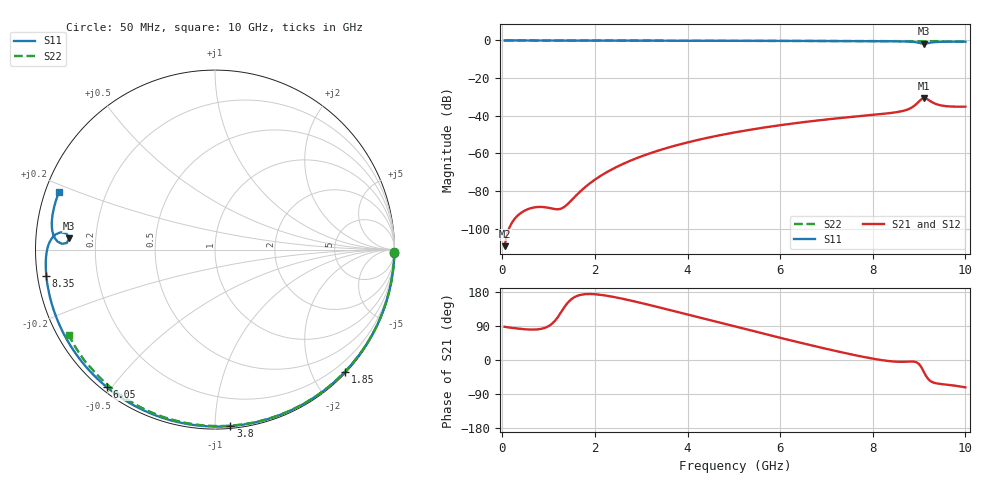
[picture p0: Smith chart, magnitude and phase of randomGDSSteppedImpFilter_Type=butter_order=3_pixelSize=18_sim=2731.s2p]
! freq	dB(S11)	phase(S11)	dB(S12)	phase(S12)
!  dB(S21)	phase(S21)	dB(S22)	phase(S22)
!S-par simulation data
#  GHz  S  DB  R 50
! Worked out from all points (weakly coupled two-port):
!   200 points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, 50 MHz to 10 GHz, reference 50 ohm
!   highest |S21| = -30.63 dB at 9.1 GHz (marker M1); lowest = -109.2 dB at 50 MHz (marker M2)
!   lowest |S11| = -1.8 dB at 9.1 GHz (marker M3), VSWR 9.78, Z = 5.12 + j1.89 ohm
!   |S11| at or under -10 dB: nowhere
!   |S22| runs from -0.5 to 0.0 dB; largest |S21 - S12| = 0
!   S11 on the Smith chart (normalised r, x): 50 MHz: 1, -99; 1.85 GHz: 0.02, -2.53; 3.8 GHz: 0.01, -1.09; 6.05 GHz: 0.02, -0.48; 8.35 GHz: 0.03, -0.08; 10 GHz: 0.04, +0.18
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0.05  -0.00 -1.2  -109.21 87.7  -109.21 87.7  -0.00 -0.8
0.8  -0.02 -19.0  -88.38 81.4  -88.38 81.4  -0.02 -13.8
1.65  -0.05 -38.7  -80.95 170.5  -80.95 170.5  -0.04 -28.2
1.7  -0.05 -39.8  -79.80 172.1  -79.80 172.1  -0.04 -29.1
1.75  -0.05 -40.9  -78.69 173.1  -78.69 173.1  -0.04 -29.9
1.85  -0.05 -43.2  -76.64 174.1  -76.64 174.1  -0.04 -31.6
2.15  -0.06 -49.9  -71.48 171.5  -71.48 171.5  -0.05 -36.6
2.5  -0.07 -57.6  -66.78 164.1  -66.78 164.1  -0.05 -42.3
2.9  -0.09 -66.3  -62.50 153.3  -62.50 153.3  -0.06 -48.8
3.4  -0.10 -76.8  -58.23 138.5  -58.23 138.5  -0.08 -56.8
3.8  -0.11 -85.0  -55.39 126.3  -55.39 126.3  -0.09 -63.1
5.05  -0.17 -109.6  -48.68 87.5  -48.68 87.5  -0.13 -81.9
6.05  -0.22 -128.3  -44.82 57.1  -44.82 57.1  -0.17 -96.3
6.7  -0.27 -140.2  -42.79 37.9  -42.79 37.9  -0.21 -105.4
7.55  -0.34 -155.8  -40.55 14.4  -40.55 14.4  -0.26 -117.0
8.35  -0.43 -171.2  -38.61 -2.8  -38.61 -2.8  -0.33 -127.7
8.8  -0.64 178.6  -36.16 -4.1  -36.16 -4.1  -0.38 -133.7
9  -1.28 173.6  -32.32 -10.9  -32.32 -10.9  -0.40 -136.3
9.1  -1.78 175.6  -30.63 -30.7  -30.63 -30.7  -0.40 -137.6
9.2  -1.37 177.8  -31.52 -50.7  -31.52 -50.7  -0.40 -138.9
9.45  -0.75 172.1  -34.36 -63.0  -34.36 -63.0  -0.43 -142.3
10  -0.66 159.7  -35.15 -72.1  -35.15 -72.1  -0.50 -149.7
